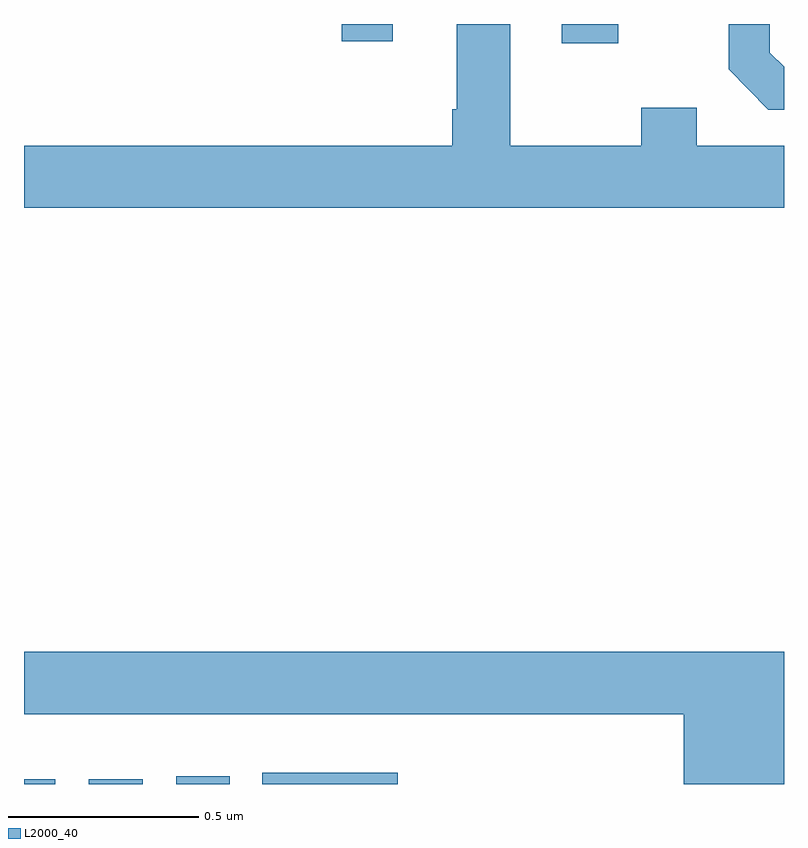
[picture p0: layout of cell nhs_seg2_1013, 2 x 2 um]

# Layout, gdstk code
import gdstk
lib = gdstk.Library(unit=1e-6, precision=1e-09)
def R(c, l, rs):  # rectangles x0, y0, x1, y1
    for r in rs: c.add(gdstk.rectangle(r[:2], r[2:], *l))
def P(c, l, *ps):  # polygons
    for p in ps: c.add(gdstk.Polygon(p, *l))
L2000_40 = (2000, 40)

nhs_seg2_1013 = lib.new_cell('nhs_seg2_1013')
R(nhs_seg2_1013, L2000_40, [(123,632.8,123.082,632.812), (123.17,632.8,123.313,632.812), (123.401,632.8,123.541,632.821), (123.627,632.8,123.983,632.83), (124.415,634.749,124.564,634.8), (123.836,634.755,123.97,634.8)])
P(nhs_seg2_1013, L2000_40, [(125,634.687),(124.962,634.725),(124.962,634.8),(124.854,634.8),(124.854,634.681),(124.959,634.575),(125,634.575)],
  [(125,634.48),(124.771,634.48),(124.771,634.579),(124.624,634.579),(124.624,634.48),(124.279,634.48),(124.279,634.8),(124.139,634.8),(124.139,634.576),(124.127,634.576),(124.127,634.48),(123,634.48),(123,634.316),(125,634.316)],
  [(125,633.148),(123,633.148),(123,632.984),(124.736,632.984),(124.736,632.8),(125,632.8)])

lib.write_gds('nhs_seg2_1013.gds')
